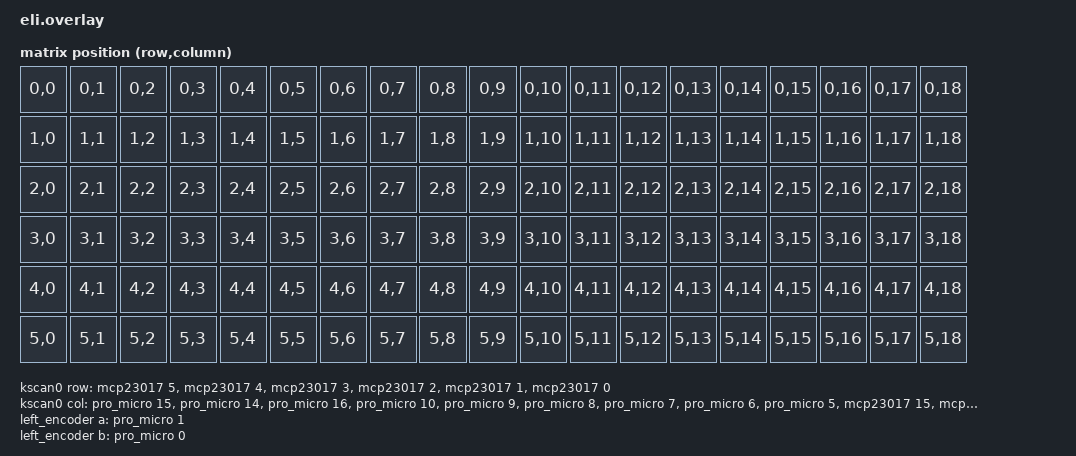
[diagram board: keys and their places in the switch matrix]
#include <dt-bindings/zmk/matrix_transform.h>

/ {
    chosen {
        zmk,kscan = &kscan0;
        zmk,matrix_transform = &default_transform;
    };

    // Definición de la matriz de 6 filas x 19 columnas (114 posiciones)
    default_transform: matrix_transform {
        compatible = "zmk,matrix-transform";
        columns = <19>;
        rows = <6>;
        map = <
            RC(0,0) RC(0,1) RC(0,2) RC(0,3) RC(0,4) RC(0,5) RC(0,6) RC(0,7) RC(0,8) RC(0,9) RC(0,10) RC(0,11) RC(0,12) RC(0,13) RC(0,14) RC(0,15) RC(0,16) RC(0,17) RC(0,18)
            RC(1,0) RC(1,1) RC(1,2) RC(1,3) RC(1,4) RC(1,5) RC(1,6) RC(1,7) RC(1,8) RC(1,9) RC(1,10) RC(1,11) RC(1,12) RC(1,13) RC(1,14) RC(1,15) RC(1,16) RC(1,17) RC(1,18)
            RC(2,0) RC(2,1) RC(2,2) RC(2,3) RC(2,4) RC(2,5) RC(2,6) RC(2,7) RC(2,8) RC(2,9) RC(2,10) RC(2,11) RC(2,12) RC(2,13) RC(2,14) RC(2,15) RC(2,16) RC(2,17) RC(2,18)
            RC(3,0) RC(3,1) RC(3,2) RC(3,3) RC(3,4) RC(3,5) RC(3,6) RC(3,7) RC(3,8) RC(3,9) RC(3,10) RC(3,11) RC(3,12) RC(3,13) RC(3,14) RC(3,15) RC(3,16) RC(3,17) RC(3,18)
            RC(4,0) RC(4,1) RC(4,2) RC(4,3) RC(4,4) RC(4,5) RC(4,6) RC(4,7) RC(4,8) RC(4,9) RC(4,10) RC(4,11) RC(4,12) RC(4,13) RC(4,14) RC(4,15) RC(4,16) RC(4,17) RC(4,18)
            RC(5,0) RC(5,1) RC(5,2) RC(5,3) RC(5,4) RC(5,5) RC(5,6) RC(5,7) RC(5,8) RC(5,9) RC(5,10) RC(5,11) RC(5,12) RC(5,13) RC(5,14) RC(5,15) RC(5,16) RC(5,17) RC(5,18)
        >;
    };

    kscan0: kscan {
        compatible = "zmk,kscan-gpio-matrix";
        label = "KSCAN";
        diode-direction = "col2row";

        // Mapeo de Filas en el MCP23017
        row-gpios
            = <&mcp23017 5 (GPIO_ACTIVE_HIGH | GPIO_PULL_DOWN)> // Fila 0 -> PA5
            , <&mcp23017 4 (GPIO_ACTIVE_HIGH | GPIO_PULL_DOWN)> // Fila 1 -> PA4
            , <&mcp23017 3 (GPIO_ACTIVE_HIGH | GPIO_PULL_DOWN)> // Fila 2 -> PA3
            , <&mcp23017 2 (GPIO_ACTIVE_HIGH | GPIO_PULL_DOWN)> // Fila 3 -> PA2
            , <&mcp23017 1 (GPIO_ACTIVE_HIGH | GPIO_PULL_DOWN)> // Fila 4 -> PA1
            , <&mcp23017 0 (GPIO_ACTIVE_HIGH | GPIO_PULL_DOWN)> // Fila 5 -> PA0
            ;

        // Mapeo Híbrido de Columnas (nRF52840 + MCP23017)
        col-gpios
            = <&pro_micro 15 GPIO_ACTIVE_HIGH> // Col 0 -> D15
            , <&pro_micro 14 GPIO_ACTIVE_HIGH> // Col 1 -> D14
            , <&pro_micro 16 GPIO_ACTIVE_HIGH> // Col 2 -> D16
            , <&pro_micro 10 GPIO_ACTIVE_HIGH> // Col 3 -> D10
            , <&pro_micro 9  GPIO_ACTIVE_HIGH> // Col 4 -> D9
            , <&pro_micro 8  GPIO_ACTIVE_HIGH> // Col 5 -> D8
            , <&pro_micro 7  GPIO_ACTIVE_HIGH> // Col 6 -> D7
            , <&pro_micro 6  GPIO_ACTIVE_HIGH> // Col 7 -> D6
            , <&pro_micro 5  GPIO_ACTIVE_HIGH> // Col 8 -> D5
            , <&mcp23017 15 GPIO_ACTIVE_HIGH>  // Col 9 -> PB7
            , <&mcp23017 14 GPIO_ACTIVE_HIGH>  // Col 10 -> PB6
            , <&mcp23017 13 GPIO_ACTIVE_HIGH>  // Col 11 -> PB5
            , <&mcp23017 12 GPIO_ACTIVE_HIGH>  // Col 12 -> PB4
            , <&mcp23017 11 GPIO_ACTIVE_HIGH>  // Col 13 -> PB3
            , <&mcp23017 10 GPIO_ACTIVE_HIGH>  // Col 14 -> PB2
            , <&mcp23017 9  GPIO_ACTIVE_HIGH>  // Col 15 -> PB1
            , <&mcp23017 8  GPIO_ACTIVE_HIGH>  // Col 16 -> PB0
            , <&mcp23017 7  GPIO_ACTIVE_HIGH>  // Col 17 -> PA7
            , <&mcp23017 6  GPIO_ACTIVE_HIGH>  // Col 18 -> PA6
            ;
    };

    // Configuración del Rotary Encoder EC11
    left_encoder: encoder_left {
        compatible = "alps,ec11";
        label = "LEFT_ENCODER";
        a-gpios = <&pro_micro 1 (GPIO_ACTIVE_HIGH | GPIO_PULL_UP)>; // D1
        b-gpios = <&pro_micro 0 (GPIO_ACTIVE_HIGH | GPIO_PULL_UP)>; // D0
        resolution = <4>;
    };

    sensors {
        compatible = "zmk,keymap-sensors";
        sensors = <&left_encoder>;
    };
};

// Configuración del Bus I2C para el expansor
&i2c0 {
    status = "okay";
    sda-pin = <3>; // SDA en D3
    scl-pin = <4>; // SCL en D4

    mcp23017: mcp23017@20 {
        compatible = "microchip,mcp23017";
        reg = <0x20>;
        label = "MCP23017";
        gpio-controller;
        #gpio-cells = <2>;
        // Interrupción física conectada al pin D2
        int-gpios = <&pro_micro 2 GPIO_ACTIVE_LOW>;
    };
};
